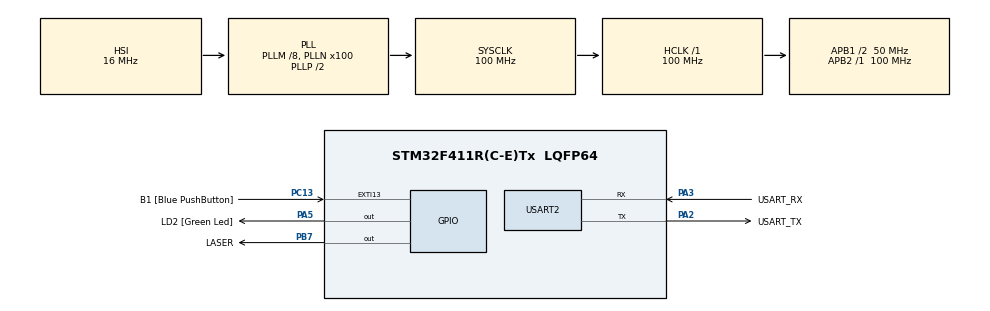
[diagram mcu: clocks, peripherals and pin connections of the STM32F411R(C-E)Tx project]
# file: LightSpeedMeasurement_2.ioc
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Mcu.Family=STM32F4
Mcu.Name=STM32F411R(C-E)Tx
Mcu.Package=LQFP64
NVIC.PriorityGroup=NVIC_PRIORITYGROUP_0
PA13.GPIO_Label=TMS
PA13.Mode=Serial_Wire
PA13.Signal=SYS_JTMS-SWDIO
PA14.GPIO_Label=TCK
PA14.Mode=Serial_Wire
PA14.Signal=SYS_JTCK-SWCLK
PA2.GPIO_Label=USART_TX
PA2.Mode=Asynchronous
PA2.Signal=USART2_TX
PA3.GPIO_Label=USART_RX
PA3.Mode=Asynchronous
PA3.Signal=USART2_RX
PA5.GPIO_Label=LD2 [Green Led]
PA5.Signal=GPIO_Output
PB3.GPIO_Label=SWO
PB3.Signal=SYS_JTDO-SWO
PB7.GPIO_Label=LASER
PB7.GPIO_Speed=GPIO_SPEED_FREQ_MEDIUM
PB7.Signal=GPIO_Output
PC13-ANTI_TAMP.GPIO_Label=B1 [Blue PushButton]
PC13-ANTI_TAMP.GPIO_ModeDefaultEXTI=GPIO_MODE_IT_FALLING
PC13-ANTI_TAMP.Signal=GPXTI13
PC14-OSC32_IN.Mode=LSE-External-Oscillator
PC14-OSC32_IN.Signal=RCC_OSC32_IN
PC15-OSC32_OUT.Mode=LSE-External-Oscillator
PC15-OSC32_OUT.Signal=RCC_OSC32_OUT
PH0\ -\ OSC_IN.Mode=HSE-External-Clock-Source
PH0\ -\ OSC_IN.Signal=RCC_OSC_IN
PH1\ -\ OSC_OUT.Mode=HSE-External-Clock-Source
PH1\ -\ OSC_OUT.Signal=RCC_OSC_OUT
ProjectManager.HeapSize=0x200
ProjectManager.StackSize=0x400
ProjectManager.TargetToolchain=STM32CubeIDE
RCC.48MHZClocksFreq_Value=50000000
RCC.AHBFreq_Value=100000000
RCC.APB1CLKDivider=RCC_HCLK_DIV2
RCC.APB1Freq_Value=50000000
RCC.APB1TimFreq_Value=100000000
RCC.APB2Freq_Value=100000000
RCC.APB2TimFreq_Value=100000000
RCC.CortexFreq_Value=100000000
RCC.FLatency-AdvancedSettings=FLASH_LATENCY_3
RCC.HCLKFreq_Value=100000000
RCC.HSE_VALUE=8000000
RCC.HSI_VALUE=16000000
RCC.PLLM=8
RCC.PLLN=100
RCC.SYSCLKFreq_VALUE=100000000
RCC.SYSCLKSource=RCC_SYSCLKSOURCE_PLLCLK
RCC.VCOOutputFreq_Value=200000000
TIM5.AutoReloadPreload=TIM_AUTORELOAD_PRELOAD_DISABLE
TIM5.Prescaler=2-1
USART2.VirtualMode=VM_ASYNC
VP_TIM5_VS_ClockSourceINT.Mode=Internal
board=NUCLEO-F411RE

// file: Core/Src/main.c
/* USER CODE BEGIN Header */
/**
  ******************************************************************************
  * @file           : main.c
  * @brief          : Main program body
  ******************************************************************************
  * @attention
  *
  * Copyright (c) 2022 STMicroelectronics.
  * All rights reserved.
  *
  * This software is licensed under terms that can be found in the LICENSE file
  * in the root directory of this software component.
  * If no LICENSE file comes with this software, it is provided AS-IS.
  *
  ******************************************************************************
  */
/* USER CODE END Header */
#include "main.h"

/* USER CODE BEGIN Includes */
#include <stm32f4xx.h>

/* Se incluyen las librerías para el manejo de variables */
#include <stdint.h>
#include <stdio.h>
#include <stdbool.h>
#include <string.h>

/* Se incluyen los drivers de los periféricos a utilizar */
#include "GPIOxDriver.h"
#include "BasicTimer.h"
#include "ExtiDriver.h"
#include "PwmDriver.h"
/* USER CODE END Includes */

TIM_HandleTypeDef htim5;

UART_HandleTypeDef huart2;

/* USER CODE BEGIN PV */
GPIO_Handler_t 		handlerStateLED 		= {0};
BTIMER_Handler_t	handlerStateLedTimer	= {0};

BTIMER_Handler_t	handlerLightTimer		= {0};

EXTI_Config_t		extiEmision				= {0}; 		// Para configurar el EXTI
EXTI_Config_t		extiReception			= {0};

PWM_Handler_t 		handlerPWM 							= {0};
GPIO_Handler_t		handlerPwmPin						= {0};

uint32_t		timeStamp = 0;
char			bufferData[20] = {0};
uint8_t		delayFlag = 0;
uint8_t		measFlag = 0;
/* USER CODE END PV */

void SystemClock_Config(void);
static void MX_GPIO_Init(void);
static void MX_USART2_UART_Init(void);
static void MX_TIM5_Init(void);
/* USER CODE BEGIN PFP */
void initSystem(void);
void send_uart2 (char *string);
/* USER CODE END PFP */

int main(void)
{

  /* MCU Configuration--------------------------------------------------------*/

  /* Reset of all peripherals, Initializes the Flash interface and the Systick. */
  HAL_Init();

  /* Configure the system clock */
  SystemClock_Config();

  /* Initialize all configured peripherals */
  MX_GPIO_Init();
  MX_USART2_UART_Init();
  MX_TIM5_Init();
  /* USER CODE BEGIN 2 */
  initSystem();
  HAL_TIM_Base_Start(&htim5);

  /* USER CODE END 2 */

  /* Infinite loop */
  /* USER CODE BEGIN WHILE */
  while (1)
  {
//	  if(delayFlag){
//		  HAL_Delay(1000);
//		  delayFlag = 0;
//	  }

//	  if (~HAL_GPIO_ReadPin(LASER_GPIO_Port, LASER_Pin)){
//		  HAL_Delay(500);
//		  measFlag = 1;
//		  __NVIC_EnableIRQ(EXTI15_10_IRQn);
//		  HAL_GPIO_WritePin(LASER_GPIO_Port, LASER_Pin, 1);
//		  __HAL_TIM_SET_COUNTER(&htim5, 0);
//	  }
	  HAL_GPIO_WritePin(LASER_GPIO_Port, LASER_Pin, 1);

	  HAL_Delay(100);

	  HAL_GPIO_WritePin(LASER_GPIO_Port, LASER_Pin, 0);

	  HAL_Delay(500);

    /* USER CODE END WHILE */

  }
}

void SystemClock_Config(void)
{
  RCC_OscInitTypeDef RCC_OscInitStruct = {0};
  RCC_ClkInitTypeDef RCC_ClkInitStruct = {0};

  /** Configure the main internal regulator output voltage
  */
  __HAL_RCC_PWR_CLK_ENABLE();
  __HAL_PWR_VOLTAGESCALING_CONFIG(PWR_REGULATOR_VOLTAGE_SCALE1);

  /** Initializes the RCC Oscillators according to the specified parameters
  * in the RCC_OscInitTypeDef structure.
  */
  RCC_OscInitStruct.OscillatorType = RCC_OSCILLATORTYPE_HSI;
  RCC_OscInitStruct.HSIState = RCC_HSI_ON;
  RCC_OscInitStruct.HSICalibrationValue = RCC_HSICALIBRATION_DEFAULT;
  RCC_OscInitStruct.PLL.PLLState = RCC_PLL_ON;
  RCC_OscInitStruct.PLL.PLLSource = RCC_PLLSOURCE_HSI;
  RCC_OscInitStruct.PLL.PLLM = 8;
  RCC_OscInitStruct.PLL.PLLN = 100;
  RCC_OscInitStruct.PLL.PLLP = RCC_PLLP_DIV2;
  RCC_OscInitStruct.PLL.PLLQ = 4;
  if (HAL_RCC_OscConfig(&RCC_OscInitStruct) != HAL_OK)
  {
    Error_Handler();
  }

  /** Initializes the CPU, AHB and APB buses clocks
  */
  RCC_ClkInitStruct.ClockType = RCC_CLOCKTYPE_HCLK|RCC_CLOCKTYPE_SYSCLK
                              |RCC_CLOCKTYPE_PCLK1|RCC_CLOCKTYPE_PCLK2;
  RCC_ClkInitStruct.SYSCLKSource = RCC_SYSCLKSOURCE_PLLCLK;
  RCC_ClkInitStruct.AHBCLKDivider = RCC_SYSCLK_DIV1;
  RCC_ClkInitStruct.APB1CLKDivider = RCC_HCLK_DIV2;
  RCC_ClkInitStruct.APB2CLKDivider = RCC_HCLK_DIV1;

  if (HAL_RCC_ClockConfig(&RCC_ClkInitStruct, FLASH_LATENCY_3) != HAL_OK)
  {
    Error_Handler();
  }
}

static void MX_TIM5_Init(void)
{

  TIM_ClockConfigTypeDef sClockSourceConfig = {0};
  TIM_MasterConfigTypeDef sMasterConfig = {0};

  htim5.Instance = TIM5;
  htim5.Init.Prescaler = 2-1;
  htim5.Init.CounterMode = TIM_COUNTERMODE_UP;
  htim5.Init.Period = 4294967295;
  htim5.Init.ClockDivision = TIM_CLOCKDIVISION_DIV1;
  htim5.Init.AutoReloadPreload = TIM_AUTORELOAD_PRELOAD_DISABLE;
  if (HAL_TIM_Base_Init(&htim5) != HAL_OK)
  {
    Error_Handler();
  }
  sClockSourceConfig.ClockSource = TIM_CLOCKSOURCE_INTERNAL;
  if (HAL_TIM_ConfigClockSource(&htim5, &sClockSourceConfig) != HAL_OK)
  {
    Error_Handler();
  }
  sMasterConfig.MasterOutputTrigger = TIM_TRGO_RESET;
  sMasterConfig.MasterSlaveMode = TIM_MASTERSLAVEMODE_DISABLE;
  if (HAL_TIMEx_MasterConfigSynchronization(&htim5, &sMasterConfig) != HAL_OK)
  {
    Error_Handler();
  }

}

static void MX_USART2_UART_Init(void)
{

  huart2.Instance = USART2;
  huart2.Init.BaudRate = 115200;
  huart2.Init.WordLength = UART_WORDLENGTH_8B;
  huart2.Init.StopBits = UART_STOPBITS_1;
  huart2.Init.Parity = UART_PARITY_NONE;
  huart2.Init.Mode = UART_MODE_TX_RX;
  huart2.Init.HwFlowCtl = UART_HWCONTROL_NONE;
  huart2.Init.OverSampling = UART_OVERSAMPLING_16;
  if (HAL_UART_Init(&huart2) != HAL_OK)
  {
    Error_Handler();
  }

}

static void MX_GPIO_Init(void)
{
  GPIO_InitTypeDef GPIO_InitStruct = {0};

  /* GPIO Ports Clock Enable */
  __HAL_RCC_GPIOC_CLK_ENABLE();
  __HAL_RCC_GPIOH_CLK_ENABLE();
  __HAL_RCC_GPIOA_CLK_ENABLE();
  __HAL_RCC_GPIOB_CLK_ENABLE();

  /*Configure GPIO pin Output Level */
  HAL_GPIO_WritePin(LD2_GPIO_Port, LD2_Pin, GPIO_PIN_RESET);

  /*Configure GPIO pin Output Level */
  HAL_GPIO_WritePin(LASER_GPIO_Port, LASER_Pin, GPIO_PIN_RESET);

  /*Configure GPIO pin : B1_Pin */
  GPIO_InitStruct.Pin = B1_Pin;
  GPIO_InitStruct.Mode = GPIO_MODE_IT_FALLING;
  GPIO_InitStruct.Pull = GPIO_NOPULL;
  HAL_GPIO_Init(B1_GPIO_Port, &GPIO_InitStruct);

  /*Configure GPIO pin : LD2_Pin */
  GPIO_InitStruct.Pin = LD2_Pin;
  GPIO_InitStruct.Mode = GPIO_MODE_OUTPUT_PP;
  GPIO_InitStruct.Pull = GPIO_NOPULL;
  GPIO_InitStruct.Speed = GPIO_SPEED_FREQ_LOW;
  HAL_GPIO_Init(LD2_GPIO_Port, &GPIO_InitStruct);

  /*Configure GPIO pin : LASER_Pin */
  GPIO_InitStruct.Pin = LASER_Pin;
  GPIO_InitStruct.Mode = GPIO_MODE_OUTPUT_PP;
  GPIO_InitStruct.Pull = GPIO_NOPULL;
  GPIO_InitStruct.Speed = GPIO_SPEED_FREQ_MEDIUM;
  HAL_GPIO_Init(LASER_GPIO_Port, &GPIO_InitStruct);

}

/* USER CODE BEGIN 4 */

void initSystem(void){

	/* Configuración del State LED */
	handlerStateLED.pGPIOx 								= GPIOA;
	handlerStateLED.GPIO_PinConfig.GPIO_PinNumber		= PIN_5;
	handlerStateLED.GPIO_PinConfig.GPIO_PinMode			= GPIO_MODE_OUT;		// Se configura el PIN en modo OUTPUT
	handlerStateLED.GPIO_PinConfig.GPIO_PinOPType		= GPIO_OTYPE_PUSHPULL;	// Se define el OUTPUT TYPE como Push-Pull, para poder hacer el blinky
	handlerStateLED.GPIO_PinConfig.GPIO_PinSpeed		= GPIO_OSPEED_MEDIUM;	// Se configura el OUTPUT con una velocidad MEDIUM
	// Se carga la configuración del State LED
	GPIO_Config(&handlerStateLED);

	/* Configuración del Timer2, que controla el blinky del StateLED */
	handlerStateLedTimer.ptrTIMx					= TIM3;
	handlerStateLedTimer.timerConfig.Timer_mode		= TIMER_MODE_UP;
	handlerStateLedTimer.timerConfig.Timer_speed	= TIMER_INCR_SPEED_100us;
	handlerStateLedTimer.timerConfig.Timer_period	= 2500;
	// Se carga la configuración del Timer2
	BTimer_Config(&handlerStateLedTimer);

	/* Configuración del EXTI10 */
	extiEmision.EXTIx			= EXTI10;
	extiEmision.pinPort			= PC;
	extiEmision.pinPUPD_Mode    = GPIO_PUPDR_PULLDOWN;
	extiEmision.triggerMode		= RISING_TRIGGER;
	// Se carga la configuración del EXTI
	exti_Config(&extiEmision);

	/* Configuración del EXTI10 */
	extiReception.EXTIx			= EXTI9;
	extiReception.pinPort		= PA;
	extiReception.pinPUPD_Mode  = GPIO_PUPDR_PULLDOWN;
	extiReception.triggerMode	= RISING_TRIGGER;
	// Se carga la configuración del EXTI
//	exti_Config(&extiReception);

	/* Configuración del Pin por el que se tomará el PWM para el servomotor */
	handlerPwmPin.pGPIOx 								= GPIOB;
	handlerPwmPin.GPIO_PinConfig.GPIO_PinNumber			= PIN_7;
	handlerPwmPin.GPIO_PinConfig.GPIO_PinMode			= GPIO_MODE_ALTFN;
	handlerPwmPin.GPIO_PinConfig.GPIO_PinOPType			= GPIO_OTYPE_PUSHPULL;
	handlerPwmPin.GPIO_PinConfig.GPIO_PinSpeed			= GPIO_OSPEED_HIGH;
	handlerPwmPin.GPIO_PinConfig.GPIO_PinAltFunMode		= AF2;
	// Se carga la configuración del Pin para el PWM
//	GPIO_Config(&handlerPwmPin);

	/* Configuración del Timer 3 para el PWM */
	handlerPWM.ptrTIMx 					= TIM4;
	handlerPWM.pwmConfig.PWM_channel 	= CHANNEL2;
	handlerPWM.pwmConfig.PWM_prescaler	= TIMER_INCR_SPEED_100us;
	handlerPWM.pwmConfig.PWM_period		= 4000;
	handlerPWM.pwmConfig.PWM_dutyCycle	= 2000;
	// Se carga la configuración del PWM
//	PWM_Config(&handlerPWM);
}

/* Implementacion del Callback para el timer2 */
void BTimer3_Callback(void){
	handlerStateLED.pGPIOx->ODR ^= GPIO_ODR_OD5;
}

/* Implementación del Callback para el EXTI10 */
void Exti10_Callback(void){
	timeStamp = htim5.Instance->CNT;
	if(measFlag){
		sprintf(bufferData,"Time = %lu ns\n", timeStamp-950);
		send_uart2(bufferData);
		delayFlag = 1;
		HAL_GPIO_WritePin(LASER_GPIO_Port, LASER_Pin, 0);
		measFlag = 0;
		__NVIC_DisableIRQ(EXTI15_10_IRQn);
	}

}

/* Implementación del Callback para el EXTI10 */
void Exti9_Callback(void){
	sprintf(bufferData,"Time = %lf ns\n", ((double) htim5.Instance->CNT - timeStamp)*10.0);
	send_uart2(bufferData);
}

void send_uart2 (char *string)
{
	uint16_t len = strlen (string);
	HAL_UART_Transmit(&huart2, (uint8_t *) string, len, HAL_MAX_DELAY);  // transmit in blocking mode
}

/* USER CODE END 4 */

void Error_Handler(void)
{
  __disable_irq();
  while (1)
  {
  }
}
